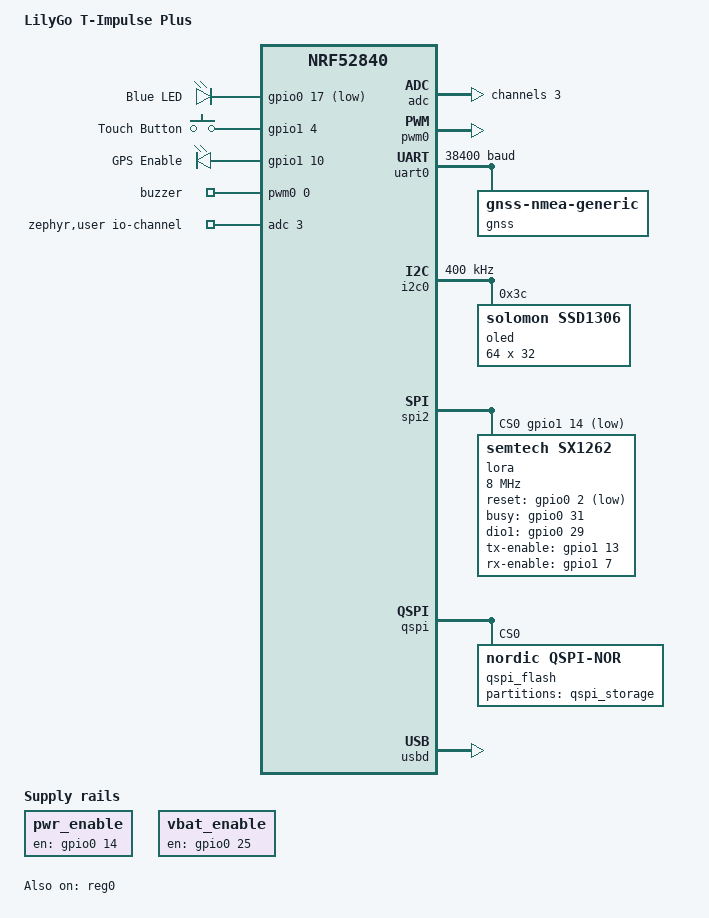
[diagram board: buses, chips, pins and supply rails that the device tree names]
/*
 * LilyGo T-Impulse Plus — nRF52840 + SX1262 + SSD1315 OLED + u-blox M10 GPS
 * Copyright (c) 2026 ZephCore
 *
 * SPDX-License-Identifier: MIT
 *
 * A LoRa wristband/tracker. Hardware (from LilyGo's official pin_config.h,
 * variant.h and the datasheets shipped in the T-Impulse-Plus repo):
 *
 * - nRF52840 SoC with BLE 5, native USB, Adafruit UF2 bootloader
 *   (SoftDevice s140 v6.1.1, app @ 0x26000 — same layout as T-Echo)
 * - SX1262 LoRa (AcSip S62F module): 22 dBm, embedded 32 MHz TCXO on DIO3,
 *   GPIO antenna switch (VC1=TX P1.13, VC2=RX P1.07 — NOT DIO2)
 * - SSD1315 128x64 mono OLED on I2C0 @ 0x3C (SSD1306-compatible, no reset pin)
 * - u-blox MIA-M10Q GPS on UART0 @ 38400 baud, power enable P1.10
 * - ZD25WQ32C 32Mbit (4MB) QSPI flash -> /ext LittleFS
 * - ICM-20948 IMU (0x69) + SGM41562 charger (0x03) on a second I2C bus —
 *   present but NOT used by ZephCore, so that bus is left disabled
 * - Battery ADC on AIN3 (P0.05), divider gated by P0.25 (drive HIGH to read)
 * - TTP223 capacitive touch button (P1.04, active-HIGH)
 * - Haptic vibration motor (P0.22) exposed as the buzzer/notification output
 * - Single blue LED (P0.17, active-LOW, per variant.h)
 *
 * Power rail:
 * - RT9080 LDO enable P0.14 (HIGH) powers the whole 3V3 peripheral rail
 *   (SX1262, OLED, GPS, QSPI). Brought up as a boot-on fixed regulator so it
 *   is live before those devices initialise.
 */

/dts-v1/;
#include <nordic/nrf52840_qiaa.dtsi>
#include "lilygo_timpulse_plus-pinctrl.dtsi"
#include <zephyr/dt-bindings/lora/sx126x.h>
#include <zephyr/dt-bindings/adc/nrf-saadc.h>
#include <zephyr/dt-bindings/input/input-event-codes.h>
#include <zephyr/dt-bindings/pwm/pwm.h>

/ {
	model = "LilyGo T-Impulse Plus";
	compatible = "lilygo,timpulse-plus";

	chosen {
		zephyr,sram = &sram0;
		zephyr,flash = &flash0;
		zephyr,code-partition = &code_partition;
		zephyr,console = &cdc_acm_uart;
		zephyr,shell-uart = &cdc_acm_uart;
		zephyr,display = &oled;
	};

	aliases {
		lora0 = &lora;
		/* Only one LED on this board — use it for both status and LoRa TX. */
		led0 = &led_blue;
		lora-tx-led = &led_blue;
		sw0 = &touch_button;
		watchdog0 = &wdt0;
		buzzer = &buzzer;
		gps-enable = &gps_enable_pin;
	};

	/* ---- LED ----
	 * Single blue LED on P0.17, active-LOW (variant.h: LED_STATE_ON = 0).
	 * The wristband is primarily an OLED + haptic device; if P0.17 is
	 * unpopulated on a given unit, driving it is simply a no-op. */
	leds {
		compatible = "gpio-leds";

		led_blue: led_0 {
			gpios = <&gpio0 17 GPIO_ACTIVE_LOW>;
			label = "Blue LED";
		};
	};

	/* ---- Touch button (TTP223, P1.04) ----
	 *
	 * The only user input on the wristband. The TTP223 presents an
	 * active-HIGH momentary output (external pull-down, Arduino uses
	 * INPUT_PULLDOWN), so no internal pull is configured.
	 *
	 * Single-button UI (same scheme as T-Echo / RAK4631):
	 *   short press (release < 1s) -> KEY_A -> multi-tap filter:
	 *       1 tap  -> KEY_1    = next page
	 *       2 taps -> KEY_LEFT = previous page
	 *   long press (>= 1s)         -> KEY_ENTER = activate / confirm
	 *
	 * (The recessed BOOT button on P0.24 is left as the DFU/reset button and
	 * is intentionally not wired as a runtime input.)
	 */
	buttons: buttons {
		compatible = "gpio-keys";

		touch_button: button_0 {
			gpios = <&gpio1 4 GPIO_ACTIVE_HIGH>;
			zephyr,code = <INPUT_KEY_0>;
			label = "Touch Button";
		};
	};

	/* short-press -> KEY_A (multi-tap), long-press (>=1s) -> KEY_ENTER */
	touch_btn_longpress {
		compatible = "zephyr,input-longpress";
		input = <&buttons>;
		input-codes = <INPUT_KEY_0>;
		short-codes = <INPUT_KEY_A>;
		long-codes = <INPUT_KEY_ENTER>;
		long-delay-ms = <1000>;
	};

	page_btn_multitap {
		compatible = "zephcore,input-multi-tap";
		input-codes = <INPUT_KEY_A>;
		tap-codes = <INPUT_KEY_1 INPUT_KEY_LEFT>;
		tap-delay-ms = <400>;
	};

	/* ---- Power control ----
	 * RT9080 LDO enable (P0.14). A single fixed regulator gating the entire
	 * 3V3 peripheral rail: SX1262, SSD1315 OLED, GPS and QSPI flash. boot-on
	 * so the regulator framework raises it before those drivers init
	 * (REGULATOR_FIXED_INIT_PRIORITY pinned to 30 in Kconfig, ahead of the
	 * QSPI NOR init at 41). */
	pwr_enable: pwr-enable {
		compatible = "regulator-fixed";
		regulator-name = "pwr-enable";
		enable-gpios = <&gpio0 14 GPIO_ACTIVE_HIGH>;
		regulator-boot-on;
		startup-delay-us = <10000>;
	};

	/* Battery-measurement enable (P0.25, active-HIGH).
	 * ZephyrBoard::getBattMilliVolts() calls regulator_enable/disable around
	 * the ADC read so the divider only draws current during a measurement. */
	vbat_enable: vbat-enable {
		compatible = "regulator-fixed";
		regulator-name = "vbat-enable";
		enable-gpios = <&gpio0 25 GPIO_ACTIVE_HIGH>;
	};

	/* ---- GPS power control ----
	 * GPS_EN (P1.10). gnss-nmea-generic has no on-off-gpios property, so
	 * ZephyrGPSManager drives this pin directly via the gps-enable alias to
	 * power the M10 up/down for duty-cycled fixes. */
	gps_en: gps-enable {
		compatible = "gpio-leds";
		gps_enable_pin: gps_enable {
			gpios = <&gpio1 10 GPIO_ACTIVE_HIGH>;
			label = "GPS Enable";
		};
	};

	/* ---- Haptic motor as buzzer ----
	 * The vibration motor (P0.22) stands in for a piezo buzzer: message and
	 * key-feedback "beeps" become haptic pulses, which is what a wearable
	 * wants. Driven from PWM0. */
	pwmbuzzer {
		compatible = "pwm-leds";
		buzzer: buzzer {
			pwms = <&pwm0 0 PWM_MSEC(20) PWM_POLARITY_NORMAL>;
		};
	};

	/* ---- Battery ADC ----
	 * AIN3 = P0.05. Divider ratio not published — 7236 assumes a 2:1 divider
	 * (0.6V ref x 1/6 gain x 2.0 x 1000, +0.5% SAADC gain error). VERIFY
	 * against the board and adjust vbat-mv-multiplier if the reported voltage
	 * is off. */
	zephyr,user {
		io-channels = <&adc 3>;
		vbat-mv-multiplier = <7236>;
	};
};

/* ---- SoC configuration ---- */

&reg0 {
	status = "okay";
};

&reg1 {
	regulator-initial-mode = <NRF5X_REG_MODE_DCDC>;
};

&adc {
	status = "okay";
	#address-cells = <1>;
	#size-cells = <0>;

	/* Battery voltage on P0.05 (AIN3) */
	channel@3 {
		reg = <3>;
		zephyr,gain = "ADC_GAIN_1_6";
		zephyr,reference = "ADC_REF_INTERNAL";
		zephyr,acquisition-time = <ADC_ACQ_TIME(ADC_ACQ_TIME_MICROSECONDS, 10)>;
		zephyr,input-positive = <NRF_SAADC_AIN3>;
		zephyr,resolution = <12>;
	};
};

&gpiote {
	status = "okay";
};

&gpio0 {
	status = "okay";
};

&gpio1 {
	status = "okay";
};

/* ---- PWM0 for the haptic motor ---- */
&pwm0 {
	status = "okay";
	pinctrl-0 = <&pwm0_default>;
	pinctrl-1 = <&pwm0_sleep>;
	pinctrl-names = "default", "sleep";
};

/* ---- GPS on UART0 (u-blox MIA-M10Q, 38400 baud) ----
 * The M10 streams standard NMEA at power-on, so we use gnss-nmea-generic
 * (passive listener) rather than a u-blox UBX driver — no config commands,
 * no blocking init. GPS power is gated by the gps-enable alias (P1.10);
 * deferred-init lets ZephyrGPSManager raise power before the driver probes. */
&uart0 {
	compatible = "nordic,nrf-uarte";
	status = "okay";
	current-speed = <38400>;
	pinctrl-0 = <&uart0_default>;
	pinctrl-1 = <&uart0_sleep>;
	pinctrl-names = "default", "sleep";

	gnss: gnss {
		compatible = "gnss-nmea-generic";
		zephyr,deferred-init;
	};
};

/* ---- I2C0: SSD1315 OLED (64x32 glass) ----
 * SSD1315 is SSD1306-compatible; the solomon,ssd1306 driver drives it. No
 * hardware reset line (SCREEN_RST = -1).
 *
 * The physical glass is only 64x32, mapped into the controller's 128x64 RAM
 * at column 32 / row 32 — LilyGo's Display.ino inits Adafruit_SSD1306(128,64)
 * then calls setOffsetCursor(32,32), i.e. content is drawn into the visible
 * window at RAM (32,32). We express that as a 64x32 panel whose origin is
 * segment 32 / page 4 (row 32 = page 4), while keeping the vendor's 128x64
 * COM scan: multiplex-ratio 63, display-offset 0, alternative COM pins
 * (NOT com-sequential). The offsets are inferred from the vendor example and
 * may need bench trimming; if the window is misplaced, the usual alternate is
 * multiplex-ratio 31 + display-offset 32 + page-offset 0.
 *
 * NOTE: this only fixes the panel geometry. ZephCore's UI is laid out for
 * 128x64 — a 64x32 panel needs a simplified "tiny" UI (not yet in ZephCore;
 * upstream MeshCore has a ui-tiny reference). Until then content will overflow
 * the small window even though it is now positioned correctly. */
&i2c0 {
	compatible = "nordic,nrf-twim";
	status = "okay";
	clock-frequency = <I2C_BITRATE_FAST>;
	/* TWIM DMA needs one contiguous buffer; SSD1306 driver sends
	 * 1 control byte + 256B framebuffer chunks in one message. Default
	 * 16B concat buffer drops every display flush. */
	zephyr,concat-buf-size = <257>;
	pinctrl-0 = <&i2c0_default>;
	pinctrl-1 = <&i2c0_sleep>;
	pinctrl-names = "default", "sleep";

	oled: ssd1306@3c {
		compatible = "solomon,ssd1306";
		reg = <0x3c>;
		width = <64>;
		height = <32>;
		segment-offset = <32>;
		page-offset = <4>;
		display-offset = <0>;
		multiplex-ratio = <63>;
		segment-remap;
		com-invdir;
		prechargep = <0x22>;
	};
};

/* ---- SPI2 for LoRa SX1262 ---- */
&spi2 {
	compatible = "nordic,nrf-spim";
	status = "okay";
	pinctrl-0 = <&spi2_default>;
	pinctrl-1 = <&spi2_sleep>;
	pinctrl-names = "default", "sleep";
	cs-gpios = <&gpio1 14 GPIO_ACTIVE_LOW>;   /* P1.14 LORA_CS */

	lora: lora@0 {
		compatible = "semtech,sx1262";
		reg = <0>;
		spi-max-frequency = <8000000>;

		/* LoRa control pins */
		reset-gpios = <&gpio0 2 GPIO_ACTIVE_LOW>;     /* P0.02 */
		busy-gpios = <&gpio0 31 GPIO_ACTIVE_HIGH>;    /* P0.31 */
		dio1-gpios = <&gpio0 29 (GPIO_PULL_DOWN | GPIO_ACTIVE_HIGH)>; /* P0.29 */

		/* GPIO antenna switch (not DIO2). The patched native sx126x driver
		 * drives tx-enable on TX and rx-enable on RX, both low in standby —
		 * matching the RadioLib setRfSwitchPins(rxEn=VC2, txEn=VC1) call in
		 * LilyGo's example. */
		tx-enable-gpios = <&gpio1 13 GPIO_ACTIVE_HIGH>;  /* VC1 = P1.13 (TX) */
		rx-enable-gpios = <&gpio1 7 GPIO_ACTIVE_HIGH>;   /* VC2 = P1.07 (RX) */

		/* Embedded 32 MHz TCXO on the S62F module, fed via DIO3.
		 * (AcSip S62F datasheet: "Embedded TCXO of 32MHz". Without DIO3
		 * control the module has no clock and stays permanently BUSY.)
		 * 1.8V mirrors the other LilyGo/ZephCore nRF SX1262 boards; the
		 * LilyGo RadioLib example validated the 1.6V default, so drop to
		 * SX126X_DIO3_TCXO_1V6 if the radio fails to start. */
		dio3-tcxo-voltage = <SX126X_DIO3_TCXO_1V8>;
		tcxo-power-startup-delay-ms = <10>;

		/* RX boosted mode for better sensitivity (matches Arduino default). */
		rx-boosted;
	};
};

/* ---- QSPI Flash — ZD25WQ32C 32Mbit (4MB) ----
 * Same nordic,qspi-nor driver + LittleFS /ext automount as the MX25R parts on
 * T-Echo/ThinkNode — no new driver and no formatter: a blank chip auto-formats
 * on first mount (littlefs mount-fail -> format -> mount). Configured
 * single-line (fastread/pp) for reliable bring-up; quad can be enabled later.
 *
 * All values below are datasheet-confirmed (Zetta ZD25WQ32C, 2022):
 *   - JEDEC RDID (9Fh) = BA 60 16 (MID 0xBA Zetta, type 0x60, capacity 0x16).
 *     The nordic driver hard-fails init (-ENODEV) on an ID mismatch, so this
 *     must be exact for /ext to mount; identity/prefs stay on internal /lfs.
 *   - Deep power-down (B9h) supported: tDP 3us, tRES1 8us — the 10us/35us
 *     waits below are conservative and safe. */
&qspi {
	status = "okay";
	pinctrl-0 = <&qspi_default>;
	pinctrl-1 = <&qspi_sleep>;
	pinctrl-names = "default", "sleep";

	qspi_flash: qspi_flash@0 {
		compatible = "nordic,qspi-nor";
		reg = <0>;
		writeoc = "pp";
		readoc = "fastread";
		sck-frequency = <16000000>;
		jedec-id = [ba 60 16];        /* ZD25WQ32C — Zetta datasheet Table-9 */
		size = <33554432>;            /* size is in BITS: 32Mbit = 4MB */
		has-dpd;
		t-enter-dpd = <10000>;        /* tDP 3us (conservative) */
		t-exit-dpd = <35000>;         /* tRES1 8us (conservative) */
	};
};

/* ---- USB CDC for console / repeater CLI / USB companion ---- */
zephyr_udc0: &usbd {
	compatible = "nordic,nrf-usbd";
	status = "okay";

	cdc_acm_uart: cdc_acm_uart {
		compatible = "zephyr,cdc-acm-uart";
	};
};

/* ---- Flash partitions (SoftDevice v6, app @ 0x26000) ---- */
#include "../../common/nrf52_partitions_sdv6.dtsi"

/* ---- External QSPI flash partitions ---- */
&qspi_flash {
	partitions {
		compatible = "fixed-partitions";
		#address-cells = <1>;
		#size-cells = <1>;

		/* Full 4MB for LittleFS storage */
		qspi_storage_partition: partition@0 {
			label = "qspi_storage";
			reg = <0x00000000 0x00400000>;
		};
	};
};

/* ---- External QSPI /ext automount ---- */
#include "../../common/qspi-ext.dtsi"
#include "../../common/nrf52_wakeup.dtsi"
